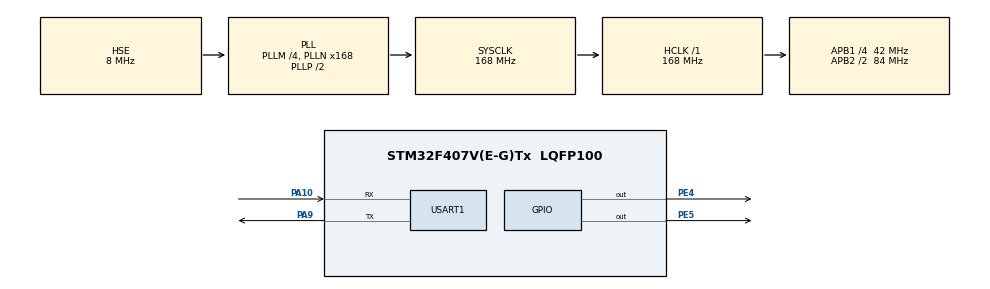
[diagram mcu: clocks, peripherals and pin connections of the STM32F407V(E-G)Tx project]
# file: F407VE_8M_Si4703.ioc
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Mcu.Family=STM32F4
Mcu.Name=STM32F407V(E-G)Tx
Mcu.Package=LQFP100
NVIC.PriorityGroup=NVIC_PRIORITYGROUP_4
NVIC.USART1_IRQn=true\:0\:0\:false\:false\:true\:true\:true
PA10.Mode=Asynchronous
PA10.Signal=USART1_RX
PA13.Mode=Serial_Wire
PA13.Signal=SYS_JTMS-SWDIO
PA14.Mode=Serial_Wire
PA14.Signal=SYS_JTCK-SWCLK
PA9.Mode=Asynchronous
PA9.Signal=USART1_TX
PC14-OSC32_IN.Mode=LSE-External-Oscillator
PC14-OSC32_IN.Signal=RCC_OSC32_IN
PC15-OSC32_OUT.Mode=LSE-External-Oscillator
PC15-OSC32_OUT.Signal=RCC_OSC32_OUT
PE4.GPIO_ModeDefaultOutputPP=GPIO_MODE_OUTPUT_PP
PE4.GPIO_PuPd=GPIO_PULLUP
PE4.GPIO_Speed=GPIO_SPEED_FREQ_VERY_HIGH
PE4.PinState=GPIO_PIN_SET
PE4.Signal=GPIO_Output
PE5.GPIO_ModeDefaultOutputPP=GPIO_MODE_OUTPUT_PP
PE5.GPIO_PuPd=GPIO_PULLUP
PE5.GPIO_Speed=GPIO_SPEED_FREQ_VERY_HIGH
PE5.PinState=GPIO_PIN_SET
PE5.Signal=GPIO_Output
PH0-OSC_IN.Mode=HSE-External-Oscillator
PH0-OSC_IN.Signal=RCC_OSC_IN
PH1-OSC_OUT.Mode=HSE-External-Oscillator
PH1-OSC_OUT.Signal=RCC_OSC_OUT
ProjectManager.HeapSize=0x200
ProjectManager.StackSize=0x400
ProjectManager.TargetToolchain=MDK-ARM V5.27
RCC.48MHZClocksFreq_Value=84000000
RCC.AHBFreq_Value=168000000
RCC.APB1CLKDivider=RCC_HCLK_DIV4
RCC.APB1Freq_Value=42000000
RCC.APB1TimFreq_Value=84000000
RCC.APB2CLKDivider=RCC_HCLK_DIV2
RCC.APB2Freq_Value=84000000
RCC.APB2TimFreq_Value=168000000
RCC.CortexFreq_Value=168000000
RCC.HCLKFreq_Value=168000000
RCC.HSE_VALUE=8000000
RCC.HSI_VALUE=16000000
RCC.PLLM=4
RCC.PLLN=168
RCC.PLLSourceVirtual=RCC_PLLSOURCE_HSE
RCC.SYSCLKFreq_VALUE=168000000
RCC.SYSCLKSource=RCC_SYSCLKSOURCE_PLLCLK
RCC.VCOOutputFreq_Value=336000000
USART1.VirtualMode=VM_ASYNC
board=custom

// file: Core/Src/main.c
/* USER CODE BEGIN Header */
/**
  ******************************************************************************
  * @file           : main.c
  * @brief          : Main program body
  ******************************************************************************
  * @attention
  *
  * <h2><center>&copy; Copyright (c) 2021 STMicroelectronics.
  * All rights reserved.</center></h2>
  *
  * This software component is licensed by ST under BSD 3-Clause license,
  * the "License"; You may not use this file except in compliance with the
  * License. You may obtain a copy of the License at:
  *                        opensource.org/licenses/BSD-3-Clause
  *
  ******************************************************************************
  */
/* USER CODE END Header */
#include "main.h"
#include "usart.h"
#include "gpio.h"

/* USER CODE BEGIN Includes */
#include "Si4703/si4703.h"
/* USER CODE END Includes */

/* USER CODE BEGIN PV */
MyUARTHandle uart1;
uint8_t uartBuf1[100];
/* USER CODE END PV */

void SystemClock_Config(void);

int main(void)
{
  /* USER CODE BEGIN 1 */
  uint8_t str[50];
  double freq;
  uint16_t tmp, i;
  /* USER CODE END 1 */

  /* MCU Configuration--------------------------------------------------------*/

  /* Reset of all peripherals, Initializes the Flash interface and the Systick. */
  HAL_Init();

  /* Configure the system clock */
  SystemClock_Config();

  /* Initialize all configured peripherals */
  MX_GPIO_Init();
  MX_USART1_UART_Init();
  /* USER CODE BEGIN 2 */
  Delay_Init(168);
  MyUART_Init(&uart1, USART1, uartBuf1, 100);
  printf("Si4703 Test\r\n");
  printf("ID: 0x%x\r\n", SI4703_Init(GPIOE, 4, GPIOE, 5));
  printf("SetFreq: %d\r\n", SI4703_SetFreq(102.7));

  /* USER CODE END 2 */

  /* Infinite loop */
  while (1)
  {

    /* USER CODE BEGIN 3 */
    if(MyUART_ReadUntilWithZero(&uart1, str, '>'))
    {
      if(str[0] == 'f' || str[0] == 'F')
      {
        freq = myatof(str + 1);
        printf("SetFreq: %d, %f\r\n", SI4703_SetFreq(freq), freq);
        Delay_ms(10);
        printf("RSSI: %d\r\n", SI4703_ReadRSSI());
      }
      else if(str[0] == 'v' || str[0] == 'V')
      {
        tmp = myatoi(str + 1);
        SI4703_SetVolume(tmp);
        printf("Set volume to %d\r\n", tmp);
      }
      else if(str[0] == 'r' || str[0] == 'R')
      {
        printf("RSSI: %d\r\n", SI4703_ReadRSSI());
      }
      else if(str[0] == 'b' || str[0] == 'B')
      {
        tmp = myatoi(str + 1);
        if(tmp == 0)
        {
          SI4703_SetBand(SI4703_CONF2_BAND_875_108);
          printf("Set band to 87.5~108\r\n");
        }
        else if(tmp == 1)
        {
          SI4703_SetBand(SI4703_CONF2_BAND_76_108);
          printf("Set band to 76~108\r\n");
        }
        else if(tmp == 2)
        {
          SI4703_SetBand(SI4703_CONF2_BAND_76_90);
          printf("Set band to 76~90\r\n");
        }
      }
      else if(str[0] == 's' || str[0] == 'S')
      {
        tmp = myatoi(str + 1);
        if(tmp == 200)
        {
          SI4703_SetSpace(SI4703_CONF2_SPACE_200);
          printf("Set channel space to 200kHz\r\n");
        }
        else if(tmp == 100)
        {
          SI4703_SetSpace(SI4703_CONF2_SPACE_100);
          printf("Set channel space to 100kHz\r\n");
        }
        else if(tmp == 50)
        {
          SI4703_SetSpace(SI4703_CONF2_SPACE_50);
          printf("Set channel space to 50kHz\r\n");
        }
      }
    }
    Delay_ms(200);
  }
  /* USER CODE END 3 */
}

void SystemClock_Config(void)
{
  RCC_OscInitTypeDef RCC_OscInitStruct = {0};
  RCC_ClkInitTypeDef RCC_ClkInitStruct = {0};

  /** Configure the main internal regulator output voltage
  */
  __HAL_RCC_PWR_CLK_ENABLE();
  __HAL_PWR_VOLTAGESCALING_CONFIG(PWR_REGULATOR_VOLTAGE_SCALE1);
  /** Initializes the RCC Oscillators according to the specified parameters
  * in the RCC_OscInitTypeDef structure.
  */
  RCC_OscInitStruct.OscillatorType = RCC_OSCILLATORTYPE_HSE;
  RCC_OscInitStruct.HSEState = RCC_HSE_ON;
  RCC_OscInitStruct.PLL.PLLState = RCC_PLL_ON;
  RCC_OscInitStruct.PLL.PLLSource = RCC_PLLSOURCE_HSE;
  RCC_OscInitStruct.PLL.PLLM = 4;
  RCC_OscInitStruct.PLL.PLLN = 168;
  RCC_OscInitStruct.PLL.PLLP = RCC_PLLP_DIV2;
  RCC_OscInitStruct.PLL.PLLQ = 4;
  if (HAL_RCC_OscConfig(&RCC_OscInitStruct) != HAL_OK)
  {
    Error_Handler();
  }
  /** Initializes the CPU, AHB and APB buses clocks
  */
  RCC_ClkInitStruct.ClockType = RCC_CLOCKTYPE_HCLK|RCC_CLOCKTYPE_SYSCLK
                              |RCC_CLOCKTYPE_PCLK1|RCC_CLOCKTYPE_PCLK2;
  RCC_ClkInitStruct.SYSCLKSource = RCC_SYSCLKSOURCE_PLLCLK;
  RCC_ClkInitStruct.AHBCLKDivider = RCC_SYSCLK_DIV1;
  RCC_ClkInitStruct.APB1CLKDivider = RCC_HCLK_DIV4;
  RCC_ClkInitStruct.APB2CLKDivider = RCC_HCLK_DIV2;

  if (HAL_RCC_ClockConfig(&RCC_ClkInitStruct, FLASH_LATENCY_5) != HAL_OK)
  {
    Error_Handler();
  }
}

void Error_Handler(void)
{
  __disable_irq();
  while (1)
  {
  }
}

/************************ (C) COPYRIGHT STMicroelectronics *****END OF FILE****/
